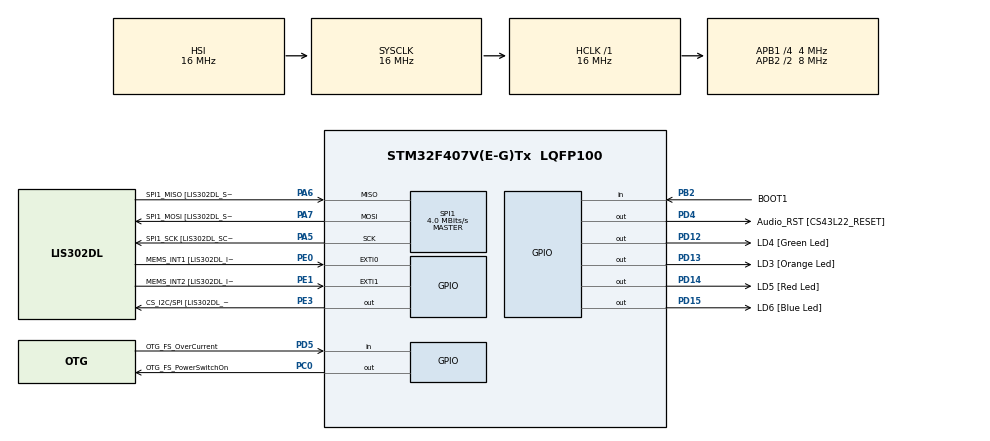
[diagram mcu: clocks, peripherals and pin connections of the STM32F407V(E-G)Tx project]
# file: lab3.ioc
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Mcu.Family=STM32F4
Mcu.Name=STM32F407V(E-G)Tx
Mcu.Package=LQFP100
NVIC.EXTI0_IRQn=true\:5\:0\:true\:false\:true\:true\:true\:true
NVIC.PriorityGroup=NVIC_PRIORITYGROUP_4
NVIC.TIM7_IRQn=true\:0\:0\:false\:false\:true\:false\:true\:true
NVIC.TimeBase=TIM7_IRQn
NVIC.TimeBaseIP=TIM7
PA10.GPIO_Label=OTG_FS_ID
PA10.GPIO_Mode=GPIO_MODE_AF_PP
PA10.GPIO_PuPd=GPIO_NOPULL
PA10.GPIO_Speed=GPIO_SPEED_FREQ_LOW
PA10.Signal=USB_OTG_FS_ID
PA11.GPIO_Label=OTG_FS_DM
PA11.GPIO_Mode=GPIO_MODE_AF_PP
PA11.GPIO_PuPd=GPIO_NOPULL
PA11.GPIO_Speed=GPIO_SPEED_FREQ_LOW
PA11.Signal=USB_OTG_FS_DM
PA12.GPIO_Label=OTG_FS_DP
PA12.GPIO_Mode=GPIO_MODE_AF_PP
PA12.GPIO_PuPd=GPIO_NOPULL
PA12.GPIO_Speed=GPIO_SPEED_FREQ_LOW
PA12.Signal=USB_OTG_FS_DP
PA13.GPIO_Label=SWDIO
PA13.Mode=Serial_Wire
PA13.Signal=SYS_JTMS-SWDIO
PA14.GPIO_Label=SWCLK
PA14.Mode=Serial_Wire
PA14.Signal=SYS_JTCK-SWCLK
PA4.GPIO_Label=I2S3_WS [CS43L22_LRCK]
PA4.GPIO_Mode=GPIO_MODE_AF_PP
PA4.GPIO_PuPd=GPIO_NOPULL
PA4.GPIO_Speed=GPIO_SPEED_FREQ_LOW
PA4.Signal=I2S3_WS
PA5.GPIO_Label=SPI1_SCK [LIS302DL_SCL/SPC]
PA5.GPIO_Mode=GPIO_MODE_AF_PP
PA5.GPIO_PuPd=GPIO_NOPULL
PA5.GPIO_Speed=GPIO_SPEED_FREQ_LOW
PA5.Mode=Full_Duplex_Master
PA5.Signal=SPI1_SCK
PA6.GPIO_Label=SPI1_MISO [LIS302DL_SDO]
PA6.GPIO_Mode=GPIO_MODE_AF_PP
PA6.GPIO_PuPd=GPIO_NOPULL
PA6.GPIO_Speed=GPIO_SPEED_FREQ_LOW
PA6.Mode=Full_Duplex_Master
PA6.Signal=SPI1_MISO
PA7.GPIO_Label=SPI1_MOSI [LIS302DL_SDA/SDI/SDO]
PA7.GPIO_Mode=GPIO_MODE_AF_PP
PA7.GPIO_PuPd=GPIO_NOPULL
PA7.GPIO_Speed=GPIO_SPEED_FREQ_LOW
PA7.Mode=Full_Duplex_Master
PA7.Signal=SPI1_MOSI
PA9.GPIO_Label=VBUS_FS
PA9.GPIO_Mode=GPIO_MODE_INPUT
PA9.GPIO_PuPd=GPIO_NOPULL
PA9.Signal=USB_OTG_FS_VBUS
PB10.GPIO_Label=CLK_IN [MP45DT02_CLK]
PB10.GPIO_Mode=GPIO_MODE_AF_PP
PB10.GPIO_PuPd=GPIO_NOPULL
PB10.GPIO_Speed=GPIO_SPEED_FREQ_LOW
PB10.Signal=I2S2_CK
PB2.GPIO_Label=BOOT1
PB2.GPIO_Mode=GPIO_MODE_INPUT
PB2.GPIO_PuPd=GPIO_NOPULL
PB2.Signal=GPIO_Input
PB3.GPIO_Label=SWO
PB3.Signal=SYS_JTDO-SWO
PB6.GPIO_Label=Audio_SCL [CS43L22_SCL]
PB6.GPIO_Mode=GPIO_MODE_AF_OD
PB6.GPIO_Pu=GPIO_PULLUP
PB6.GPIO_PuPd=GPIO_NOPULL
PB6.GPIO_Speed=GPIO_SPEED_FREQ_LOW
PB6.Signal=I2C1_SCL
PB9.GPIO_Label=Audio_SDA [CS43L22_SDA]
PB9.GPIO_Mode=GPIO_MODE_AF_OD
PB9.GPIO_Pu=GPIO_PULLUP
PB9.GPIO_PuPd=GPIO_NOPULL
PB9.GPIO_Speed=GPIO_SPEED_FREQ_LOW
PB9.Signal=I2C1_SDA
PC0.GPIO_Label=OTG_FS_PowerSwitchOn
PC0.GPIO_PuPd=GPIO_NOPULL
PC0.GPIO_Speed=GPIO_SPEED_FREQ_LOW
PC0.PinState=GPIO_PIN_SET
PC0.Signal=GPIO_Output
PC10.GPIO_Label=I2S3_SCK [CS43L22_SCLK]
PC10.GPIO_Mode=GPIO_MODE_AF_PP
PC10.GPIO_PuPd=GPIO_NOPULL
PC10.GPIO_Speed=GPIO_SPEED_FREQ_LOW
PC10.Signal=I2S3_CK
PC12.GPIO_Label=I2S3_SD [CS43L22_SDIN]
PC12.GPIO_Mode=GPIO_MODE_AF_PP
PC12.GPIO_PuPd=GPIO_NOPULL
PC12.GPIO_Speed=GPIO_SPEED_FREQ_LOW
PC12.Signal=I2S3_SD
PC14-OSC32_IN.GPIO_Label=PC14-OSC32_IN
PC14-OSC32_IN.Mode=LSE-External-Oscillator
PC14-OSC32_IN.Signal=RCC_OSC32_IN
PC15-OSC32_OUT.GPIO_Label=PC15-OSC32_OUT
PC15-OSC32_OUT.Mode=LSE-External-Oscillator
PC15-OSC32_OUT.Signal=RCC_OSC32_OUT
PC3.GPIO_Label=PDM_OUT [MP45DT02_DOUT]
PC3.GPIO_Mode=GPIO_MODE_AF_PP
PC3.GPIO_PuPd=GPIO_NOPULL
PC3.GPIO_Speed=GPIO_SPEED_FREQ_LOW
PC3.Signal=I2S2_SD
PC7.GPIO_Label=I2S3_MCK [CS43L22_MCLK]
PC7.GPIO_Mode=GPIO_MODE_AF_PP
PC7.GPIO_PuPd=GPIO_NOPULL
PC7.GPIO_Speed=GPIO_SPEED_FREQ_LOW
PC7.Signal=I2S3_MCK
PD12.GPIO_Label=LD4 [Green Led]
PD12.GPIO_PuPd=GPIO_NOPULL
PD12.GPIO_Speed=GPIO_SPEED_FREQ_LOW
PD12.Signal=GPIO_Output
PD13.GPIO_Label=LD3 [Orange Led]
PD13.GPIO_PuPd=GPIO_NOPULL
PD13.GPIO_Speed=GPIO_SPEED_FREQ_LOW
PD13.Signal=GPIO_Output
PD14.GPIO_Label=LD5 [Red Led]
PD14.GPIO_PuPd=GPIO_NOPULL
PD14.GPIO_Speed=GPIO_SPEED_FREQ_LOW
PD14.Signal=GPIO_Output
PD15.GPIO_Label=LD6 [Blue Led]
PD15.GPIO_PuPd=GPIO_NOPULL
PD15.GPIO_Speed=GPIO_SPEED_FREQ_LOW
PD15.Signal=GPIO_Output
PD4.GPIO_Label=Audio_RST [CS43L22_RESET]
PD4.GPIO_PuPd=GPIO_NOPULL
PD4.GPIO_Speed=GPIO_SPEED_FREQ_LOW
PD4.Signal=GPIO_Output
PD5.GPIO_Label=OTG_FS_OverCurrent
PD5.GPIO_Mode=GPIO_MODE_INPUT
PD5.GPIO_PuPd=GPIO_NOPULL
PD5.Signal=GPIO_Input
PE0.GPIO_Label=MEMS_INT1 [LIS302DL_INT1]
PE0.Signal=GPXTI0
PE1.GPIO_Label=MEMS_INT2 [LIS302DL_INT2]
PE1.GPIO_ModeDefaultEXTI=GPIO_MODE_EVT_RISING
PE1.GPIO_PuPd=GPIO_NOPULL
PE1.Signal=GPXTI1
PE3.GPIO_Label=CS_I2C/SPI [LIS302DL_CS_I2C/SPI]
PE3.GPIO_PuPd=GPIO_NOPULL
PE3.GPIO_Speed=GPIO_SPEED_FREQ_LOW
PE3.Signal=GPIO_Output
PH0-OSC_IN.GPIO_Label=PH0-OSC_IN
PH0-OSC_IN.Mode=HSE-External-Oscillator
PH0-OSC_IN.Signal=RCC_OSC_IN
PH1-OSC_OUT.GPIO_Label=PH1-OSC_OUT
PH1-OSC_OUT.Mode=HSE-External-Oscillator
PH1-OSC_OUT.Signal=RCC_OSC_OUT
ProjectManager.HeapSize=0x200
ProjectManager.StackSize=0x400
ProjectManager.TargetToolchain=CMake
RCC.48MHZClocksFreq_Value=48000000
RCC.AHBFreq_Value=16000000
RCC.APB1CLKDivider=RCC_HCLK_DIV4
RCC.APB1Freq_Value=4000000
RCC.APB1TimFreq_Value=8000000
RCC.APB2CLKDivider=RCC_HCLK_DIV2
RCC.APB2Freq_Value=8000000
RCC.APB2TimFreq_Value=16000000
RCC.CortexFreq_Value=16000000
RCC.HCLKFreq_Value=16000000
RCC.HSE_VALUE=8000000
RCC.HSI_VALUE=16000000
RCC.PLLM=8
RCC.PLLN=336
RCC.PLLQ=7
RCC.PLLSourceVirtual=RCC_PLLSOURCE_HSE
RCC.SYSCLKFreq_VALUE=16000000
RCC.VCOOutputFreq_Value=336000000
SPI1.BaudRatePrescaler-Full_Duplex_Master=SPI_BAUDRATEPRESCALER_2
SPI1.CalculateBaudRate=4.0 MBits/s
SPI1.CalculateBaudRate-Full_Duplex_Master=42.0 MBits/s
SPI1.Direction=SPI_DIRECTION_2LINES
SPI1.Mode=SPI_MODE_MASTER
SPI1.Mode-Full_Duplex_Master=SPI_MODE_MASTER
SPI1.VirtualType=VM_MASTER
VP_SYS_VS_tim7.Mode=TIM7
board=STM32F407G-DISC1

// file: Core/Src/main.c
/* USER CODE BEGIN Header */
/**
 ******************************************************************************
 * @file           : main.c
 * @brief          : Main program body
 ******************************************************************************
 * @attention
 *
 * Copyright (c) 2026 STMicroelectronics.
 * All rights reserved.
 *
 * This software is licensed under terms that can be found in the LICENSE file
 * in the root directory of this software component.
 * If no LICENSE file comes with this software, it is provided AS-IS.
 *
 ******************************************************************************
 */
/* USER CODE END Header */
#include "main.h"

/* USER CODE BEGIN Includes */
#include "FreeRTOS.h"
#include "semphr.h"
#include "task.h"

/* USER CODE END Includes */

/* USER CODE BEGIN PD */
#define GREEN_LED GPIO_PIN_12
#define ORANGE_LED GPIO_PIN_13
#define RED_LED GPIO_PIN_14

#define LIS3DSH_WHO_AM_I_ADDR 0x0F
#define LIS3DSH_STAT_ADDR 0x18
#define LIS3DSH_CTRL_REG4_ADDR 0x20
#define LIS3DSH_CTRL_REG1_ADDR 0x21
#define LIS3DSH_CTRL_REG2_ADDR 0x22
#define LIS3DSH_CTRL_REG3_ADDR 0x23
#define LIS3DSH_CTRL_REG5_ADDR 0x24
#define LIS3DSH_CTRL_REG6_ADDR 0x25

#define LIS3DSH_STATUS_ADDR 0x27

#define LIS3DSH_OUT_X_L_ADDR 0x28
#define LIS3DSH_OUT_X_H_ADDR 0x29
#define LIS3DSH_OUT_Y_L_ADDR 0x2A
#define LIS3DSH_OUT_Y_H_ADDR 0x2B
#define LIS3DSH_OUT_Z_L_ADDR 0x2C
#define LIS3DSH_OUT_Z_H_ADDR 0x2D

#define LIS3DSH_ST1_1_ADDR 0x40
#define LIS3DSH_ST1_2_ADDR 0x41
#define LIS3DSH_THRS1_1_ADDR 0x57
#define LIS3DSH_MASK1_B_ADDR 0x59
#define LIS3DSH_MASK1_A_ADDR 0x5A
#define LIS3DSH_SETT1_ADDR 0x5B
#define LIS3DSH_OUTS1_ADDR 0x5F
/* USER CODE END PD */

SPI_HandleTypeDef hspi1;

/* USER CODE BEGIN PV */
// TaskHandle_t xLEDHandle;
// TaskHandle_t xHandlerHandle;
SemaphoreHandle_t xSemaphore;
/* USER CODE END PV */

void SystemClock_Config(void);
static void MX_GPIO_Init(void);
static void MX_SPI1_Init(void);

/* USER CODE BEGIN 0 */
static inline void MEMS_Write(uint8_t address, uint8_t data) {
  HAL_GPIO_WritePin(GPIOE, GPIO_PIN_3, GPIO_PIN_RESET);
  HAL_SPI_Transmit(&hspi1, &address, 1, 10);
  HAL_SPI_Transmit(&hspi1, &data, 1, 10);
  HAL_GPIO_WritePin(GPIOE, GPIO_PIN_3, GPIO_PIN_SET);
}

static inline void MEMS_Read(uint8_t address, uint8_t *data) {
  address |= 0x80;
  HAL_GPIO_WritePin(GPIOE, GPIO_PIN_3, GPIO_PIN_RESET);
  HAL_SPI_Transmit(&hspi1, &address, 1, 10);
  HAL_SPI_Receive(&hspi1, data, 1, 10);
  HAL_GPIO_WritePin(GPIOE, GPIO_PIN_3, GPIO_PIN_SET);
}

static void LIS3DSH_Init() {
  MEMS_Write(LIS3DSH_CTRL_REG1_ADDR, 0x01);
  MEMS_Write(LIS3DSH_CTRL_REG3_ADDR, 0x48);
  MEMS_Write(LIS3DSH_CTRL_REG4_ADDR, 0x67);
  MEMS_Write(LIS3DSH_THRS1_1_ADDR, 0x50);
  MEMS_Write(LIS3DSH_ST1_1_ADDR, 0x05);
  MEMS_Write(LIS3DSH_ST1_2_ADDR, 0x11);
  MEMS_Write(LIS3DSH_MASK1_B_ADDR, 0xFC);
  MEMS_Write(LIS3DSH_MASK1_A_ADDR, 0xFC);
  MEMS_Write(LIS3DSH_SETT1_ADDR, 0x01);
}

void LEDTask(void *pvParameter) {
  while (1) {
    HAL_GPIO_WritePin(GPIOD, GREEN_LED, GPIO_PIN_SET);
    vTaskDelay(1000);
    HAL_GPIO_WritePin(GPIOD, GREEN_LED, GPIO_PIN_RESET);
    vTaskDelay(1000);
  }
}

void HandlerTask(void *pvParameter) {
  uint8_t data;

  while (1) {
    if (xSemaphoreTake(xSemaphore, 0xffff) == pdTRUE) {
      /* Blink orange LED 5 times */
      for (int i = 0; i < 5; i++) {
        HAL_GPIO_WritePin(GPIOD, ORANGE_LED, GPIO_PIN_SET);
        HAL_Delay(250);
        HAL_GPIO_WritePin(GPIOD, ORANGE_LED, GPIO_PIN_RESET);
        HAL_Delay(250);
      }

      /* Read data to clear the interrupt */
      MEMS_Read(LIS3DSH_OUTS1_ADDR, &data);
    }
  }
}
/* USER CODE END 0 */

int main(void)
{

  /* MCU Configuration--------------------------------------------------------*/

  /* Reset of all peripherals, Initializes the Flash interface and the Systick. */
  HAL_Init();

  /* Configure the system clock */
  SystemClock_Config();

  /* Initialize all configured peripherals */
  MX_GPIO_Init();
  MX_SPI1_Init();
  /* USER CODE BEGIN 2 */

  /* Initialize LIS3DSH accelerometer */
  LIS3DSH_Init();

  /* Create binary semaphore */
  xSemaphore = xSemaphoreCreateBinary();
  if (xSemaphore == NULL) {
    Error_Handler();
  }

  /* Create tasks and start scheduler */
  xTaskCreate(LEDTask, "LED Task", 128, NULL, 0, NULL);
  xTaskCreate(HandlerTask, "Handler Task", 128, NULL, 4, NULL);
  vTaskStartScheduler();

  /* USER CODE END 2 */

  /* Infinite loop */
  while (1) {

  }
}

void SystemClock_Config(void)
{
  RCC_OscInitTypeDef RCC_OscInitStruct = {0};
  RCC_ClkInitTypeDef RCC_ClkInitStruct = {0};

  /** Configure the main internal regulator output voltage
  */
  __HAL_RCC_PWR_CLK_ENABLE();
  __HAL_PWR_VOLTAGESCALING_CONFIG(PWR_REGULATOR_VOLTAGE_SCALE1);

  /** Initializes the RCC Oscillators according to the specified parameters
  * in the RCC_OscInitTypeDef structure.
  */
  RCC_OscInitStruct.OscillatorType = RCC_OSCILLATORTYPE_HSI;
  RCC_OscInitStruct.HSIState = RCC_HSI_ON;
  RCC_OscInitStruct.HSICalibrationValue = RCC_HSICALIBRATION_DEFAULT;
  RCC_OscInitStruct.PLL.PLLState = RCC_PLL_NONE;
  if (HAL_RCC_OscConfig(&RCC_OscInitStruct) != HAL_OK)
  {
    Error_Handler();
  }

  /** Initializes the CPU, AHB and APB buses clocks
  */
  RCC_ClkInitStruct.ClockType = RCC_CLOCKTYPE_HCLK|RCC_CLOCKTYPE_SYSCLK
                              |RCC_CLOCKTYPE_PCLK1|RCC_CLOCKTYPE_PCLK2;
  RCC_ClkInitStruct.SYSCLKSource = RCC_SYSCLKSOURCE_HSI;
  RCC_ClkInitStruct.AHBCLKDivider = RCC_SYSCLK_DIV1;
  RCC_ClkInitStruct.APB1CLKDivider = RCC_HCLK_DIV4;
  RCC_ClkInitStruct.APB2CLKDivider = RCC_HCLK_DIV2;

  if (HAL_RCC_ClockConfig(&RCC_ClkInitStruct, FLASH_LATENCY_0) != HAL_OK)
  {
    Error_Handler();
  }
}

static void MX_SPI1_Init(void)
{

  /* SPI1 parameter configuration*/
  hspi1.Instance = SPI1;
  hspi1.Init.Mode = SPI_MODE_MASTER;
  hspi1.Init.Direction = SPI_DIRECTION_2LINES;
  hspi1.Init.DataSize = SPI_DATASIZE_8BIT;
  hspi1.Init.CLKPolarity = SPI_POLARITY_LOW;
  hspi1.Init.CLKPhase = SPI_PHASE_1EDGE;
  hspi1.Init.NSS = SPI_NSS_SOFT;
  hspi1.Init.BaudRatePrescaler = SPI_BAUDRATEPRESCALER_2;
  hspi1.Init.FirstBit = SPI_FIRSTBIT_MSB;
  hspi1.Init.TIMode = SPI_TIMODE_DISABLE;
  hspi1.Init.CRCCalculation = SPI_CRCCALCULATION_DISABLE;
  hspi1.Init.CRCPolynomial = 10;
  if (HAL_SPI_Init(&hspi1) != HAL_OK)
  {
    Error_Handler();
  }

}

static void MX_GPIO_Init(void)
{
  GPIO_InitTypeDef GPIO_InitStruct = {0};

  /* GPIO Ports Clock Enable */
  __HAL_RCC_GPIOE_CLK_ENABLE();
  __HAL_RCC_GPIOC_CLK_ENABLE();
  __HAL_RCC_GPIOH_CLK_ENABLE();
  __HAL_RCC_GPIOA_CLK_ENABLE();
  __HAL_RCC_GPIOB_CLK_ENABLE();
  __HAL_RCC_GPIOD_CLK_ENABLE();

  /*Configure GPIO pin Output Level */
  HAL_GPIO_WritePin(CS_I2C_SPI_GPIO_Port, CS_I2C_SPI_Pin, GPIO_PIN_RESET);

  /*Configure GPIO pin Output Level */
  HAL_GPIO_WritePin(OTG_FS_PowerSwitchOn_GPIO_Port, OTG_FS_PowerSwitchOn_Pin, GPIO_PIN_SET);

  /*Configure GPIO pin Output Level */
  HAL_GPIO_WritePin(GPIOD, LD4_Pin|LD3_Pin|LD5_Pin|LD6_Pin
                          |Audio_RST_Pin, GPIO_PIN_RESET);

  /*Configure GPIO pin : CS_I2C_SPI_Pin */
  GPIO_InitStruct.Pin = CS_I2C_SPI_Pin;
  GPIO_InitStruct.Mode = GPIO_MODE_OUTPUT_PP;
  GPIO_InitStruct.Pull = GPIO_NOPULL;
  GPIO_InitStruct.Speed = GPIO_SPEED_FREQ_LOW;
  HAL_GPIO_Init(CS_I2C_SPI_GPIO_Port, &GPIO_InitStruct);

  /*Configure GPIO pin : OTG_FS_PowerSwitchOn_Pin */
  GPIO_InitStruct.Pin = OTG_FS_PowerSwitchOn_Pin;
  GPIO_InitStruct.Mode = GPIO_MODE_OUTPUT_PP;
  GPIO_InitStruct.Pull = GPIO_NOPULL;
  GPIO_InitStruct.Speed = GPIO_SPEED_FREQ_LOW;
  HAL_GPIO_Init(OTG_FS_PowerSwitchOn_GPIO_Port, &GPIO_InitStruct);

  /*Configure GPIO pin : PDM_OUT_Pin */
  GPIO_InitStruct.Pin = PDM_OUT_Pin;
  GPIO_InitStruct.Mode = GPIO_MODE_AF_PP;
  GPIO_InitStruct.Pull = GPIO_NOPULL;
  GPIO_InitStruct.Speed = GPIO_SPEED_FREQ_LOW;
  GPIO_InitStruct.Alternate = GPIO_AF5_SPI2;
  HAL_GPIO_Init(PDM_OUT_GPIO_Port, &GPIO_InitStruct);

  /*Configure GPIO pin : I2S3_WS_Pin */
  GPIO_InitStruct.Pin = I2S3_WS_Pin;
  GPIO_InitStruct.Mode = GPIO_MODE_AF_PP;
  GPIO_InitStruct.Pull = GPIO_NOPULL;
  GPIO_InitStruct.Speed = GPIO_SPEED_FREQ_LOW;
  GPIO_InitStruct.Alternate = GPIO_AF6_SPI3;
  HAL_GPIO_Init(I2S3_WS_GPIO_Port, &GPIO_InitStruct);

  /*Configure GPIO pin : BOOT1_Pin */
  GPIO_InitStruct.Pin = BOOT1_Pin;
  GPIO_InitStruct.Mode = GPIO_MODE_INPUT;
  GPIO_InitStruct.Pull = GPIO_NOPULL;
  HAL_GPIO_Init(BOOT1_GPIO_Port, &GPIO_InitStruct);

  /*Configure GPIO pin : CLK_IN_Pin */
  GPIO_InitStruct.Pin = CLK_IN_Pin;
  GPIO_InitStruct.Mode = GPIO_MODE_AF_PP;
  GPIO_InitStruct.Pull = GPIO_NOPULL;
  GPIO_InitStruct.Speed = GPIO_SPEED_FREQ_LOW;
  GPIO_InitStruct.Alternate = GPIO_AF5_SPI2;
  HAL_GPIO_Init(CLK_IN_GPIO_Port, &GPIO_InitStruct);

  /*Configure GPIO pins : LD4_Pin LD3_Pin LD5_Pin LD6_Pin
                           Audio_RST_Pin */
  GPIO_InitStruct.Pin = LD4_Pin|LD3_Pin|LD5_Pin|LD6_Pin
                          |Audio_RST_Pin;
  GPIO_InitStruct.Mode = GPIO_MODE_OUTPUT_PP;
  GPIO_InitStruct.Pull = GPIO_NOPULL;
  GPIO_InitStruct.Speed = GPIO_SPEED_FREQ_LOW;
  HAL_GPIO_Init(GPIOD, &GPIO_InitStruct);

  /*Configure GPIO pins : I2S3_MCK_Pin I2S3_SCK_Pin I2S3_SD_Pin */
  GPIO_InitStruct.Pin = I2S3_MCK_Pin|I2S3_SCK_Pin|I2S3_SD_Pin;
  GPIO_InitStruct.Mode = GPIO_MODE_AF_PP;
  GPIO_InitStruct.Pull = GPIO_NOPULL;
  GPIO_InitStruct.Speed = GPIO_SPEED_FREQ_LOW;
  GPIO_InitStruct.Alternate = GPIO_AF6_SPI3;
  HAL_GPIO_Init(GPIOC, &GPIO_InitStruct);

  /*Configure GPIO pin : VBUS_FS_Pin */
  GPIO_InitStruct.Pin = VBUS_FS_Pin;
  GPIO_InitStruct.Mode = GPIO_MODE_INPUT;
  GPIO_InitStruct.Pull = GPIO_NOPULL;
  HAL_GPIO_Init(VBUS_FS_GPIO_Port, &GPIO_InitStruct);

  /*Configure GPIO pins : OTG_FS_ID_Pin OTG_FS_DM_Pin OTG_FS_DP_Pin */
  GPIO_InitStruct.Pin = OTG_FS_ID_Pin|OTG_FS_DM_Pin|OTG_FS_DP_Pin;
  GPIO_InitStruct.Mode = GPIO_MODE_AF_PP;
  GPIO_InitStruct.Pull = GPIO_NOPULL;
  GPIO_InitStruct.Speed = GPIO_SPEED_FREQ_LOW;
  GPIO_InitStruct.Alternate = GPIO_AF10_OTG_FS;
  HAL_GPIO_Init(GPIOA, &GPIO_InitStruct);

  /*Configure GPIO pin : OTG_FS_OverCurrent_Pin */
  GPIO_InitStruct.Pin = OTG_FS_OverCurrent_Pin;
  GPIO_InitStruct.Mode = GPIO_MODE_INPUT;
  GPIO_InitStruct.Pull = GPIO_NOPULL;
  HAL_GPIO_Init(OTG_FS_OverCurrent_GPIO_Port, &GPIO_InitStruct);

  /*Configure GPIO pins : Audio_SCL_Pin Audio_SDA_Pin */
  GPIO_InitStruct.Pin = Audio_SCL_Pin|Audio_SDA_Pin;
  GPIO_InitStruct.Mode = GPIO_MODE_AF_OD;
  GPIO_InitStruct.Pull = GPIO_PULLUP;
  GPIO_InitStruct.Speed = GPIO_SPEED_FREQ_LOW;
  GPIO_InitStruct.Alternate = GPIO_AF4_I2C1;
  HAL_GPIO_Init(GPIOB, &GPIO_InitStruct);

  /*Configure GPIO pin : MEMS_INT1_Pin */
  GPIO_InitStruct.Pin = MEMS_INT1_Pin;
  GPIO_InitStruct.Mode = GPIO_MODE_IT_RISING;
  GPIO_InitStruct.Pull = GPIO_NOPULL;
  HAL_GPIO_Init(MEMS_INT1_GPIO_Port, &GPIO_InitStruct);

  /*Configure GPIO pin : MEMS_INT2_Pin */
  GPIO_InitStruct.Pin = MEMS_INT2_Pin;
  GPIO_InitStruct.Mode = GPIO_MODE_EVT_RISING;
  GPIO_InitStruct.Pull = GPIO_NOPULL;
  HAL_GPIO_Init(MEMS_INT2_GPIO_Port, &GPIO_InitStruct);

  /* EXTI interrupt init*/
  HAL_NVIC_SetPriority(EXTI0_IRQn, 5, 0);
  HAL_NVIC_EnableIRQ(EXTI0_IRQn);

}

void HAL_TIM_PeriodElapsedCallback(TIM_HandleTypeDef *htim)
{
  if (htim->Instance == TIM7)
  {
    HAL_IncTick();
  }
}

void Error_Handler(void)
{
  __disable_irq();
  while (1) {
  }
}
#ifdef USE_FULL_ASSERT
/**
  * @brief  Reports the name of the source file and the source line number
  *         where the assert_param error has occurred.
  * @param  file: pointer to the source file name
  * @param  line: assert_param error line source number
  * @retval None
  */
void assert_failed(uint8_t *file, uint32_t line)
{
  /* USER CODE BEGIN 6 */
  /* User can add his own implementation to report the file name and line
     number, ex: printf("Wrong parameters value: file %s on line %d\r\n", file,
     line) */
  /* USER CODE END 6 */
}
#endif /* USE_FULL_ASSERT */
